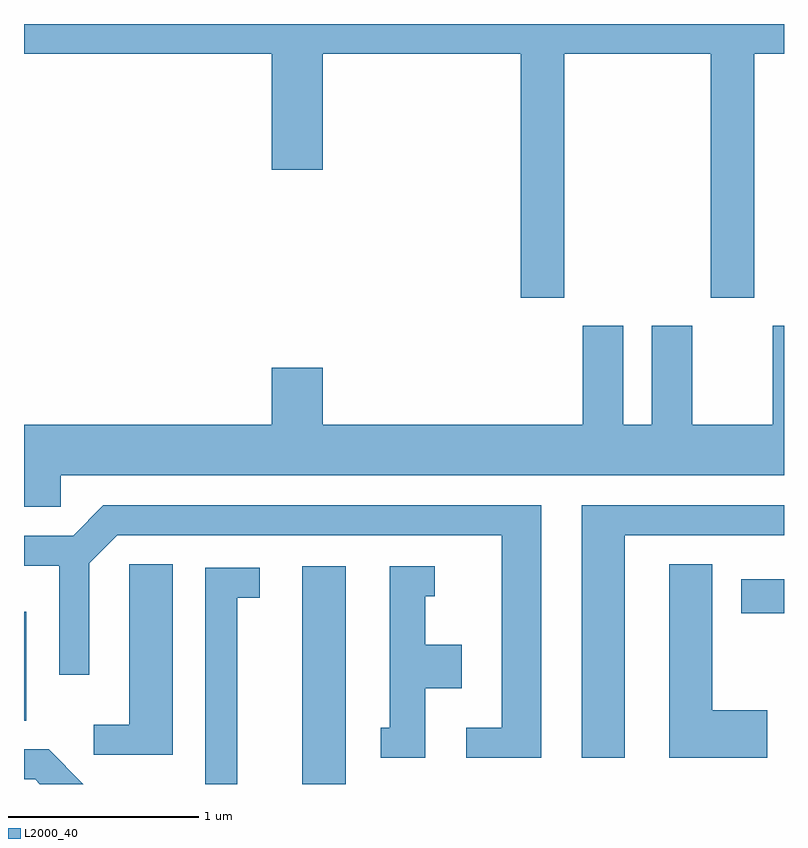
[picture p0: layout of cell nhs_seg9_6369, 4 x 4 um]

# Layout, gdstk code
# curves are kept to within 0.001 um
import gdstk
lib = gdstk.Library(unit=1e-6, precision=1e-09)
def R(c, l, rs):  # rectangles x0, y0, x1, y1
    for r in rs: c.add(gdstk.rectangle(r[:2], r[2:], *l))
def P(c, l, *ps):  # polygons
    for p in ps: c.add(gdstk.Polygon(p, *l))
L2000_40 = (2000, 40)

nhs_seg9_6369 = lib.new_cell('nhs_seg9_6369')
R(nhs_seg9_6369, L2000_40, [(375.076,1972.432,375.304,1973.579), (373.611,1972.766,373.624,1973.339), (377.386,1973.331,377.611,1973.509)])
P(nhs_seg9_6369, L2000_40, [(376.454,1976.276),(377.226,1976.276),(377.226,1974.991),(377.454,1974.991),(377.454,1976.276),(377.611,1976.276),(377.611,1976.432),(373.611,1976.432),(373.611,1976.276),(374.916,1976.276),(374.916,1975.666),(375.184,1975.666),(375.184,1976.276),(376.226,1976.276),(376.226,1974.991),(376.454,1974.991)],
  [(373.804,1974.056),(377.611,1974.056),(377.611,1974.844),(377.551,1974.844),(377.551,1974.324),(377.129,1974.324),(377.129,1974.844),(376.916,1974.844),(376.916,1974.324),(376.764,1974.324),(376.764,1974.844),(376.551,1974.844),(376.551,1974.324),(375.184,1974.324),(375.184,1974.624),(374.916,1974.624),(374.916,1974.324),(373.611,1974.324),(373.611,1973.891),(373.804,1973.891)],
  [(376.334,1973.899),(374.029,1973.899),(373.869,1973.739),(373.611,1973.739),(373.611,1973.581),(373.796,1973.581),(373.796,1973.008),(373.954,1973.008),(373.954,1973.594),(374.102,1973.741),(376.126,1973.741),(376.126,1972.729),(375.938,1972.729),(375.938,1972.571),(376.334,1972.571)],
  [(376.774,1973.741),(377.611,1973.741),(377.611,1973.899),(376.546,1973.899),(376.546,1972.571),(376.774,1972.571)],
  [(377.524,1972.819),(377.234,1972.819),(377.234,1973.589),(377.006,1973.589),(377.006,1972.571),(377.524,1972.571)],
  [(374.394,1973.589),(374.166,1973.589),(374.166,1972.744),(373.978,1972.744),(373.978,1972.586),(374.394,1972.586)],
  [(375.724,1972.936),(375.914,1972.936),(375.914,1973.164),(375.724,1973.164),(375.724,1973.421),(375.773,1973.421),(375.773,1973.579),(375.536,1973.579),(375.536,1972.729),(375.488,1972.729),(375.488,1972.571),(375.724,1972.571)],
  [(374.734,1973.411),(374.853,1973.411),(374.853,1973.569),(374.566,1973.569),(374.566,1972.432),(374.734,1972.432)],
  [(373.742,1972.614),(373.611,1972.614),(373.611,1972.456),(373.669,1972.456),(373.693,1972.432),(373.924,1972.432)])

lib.write_gds('nhs_seg9_6369.gds')
